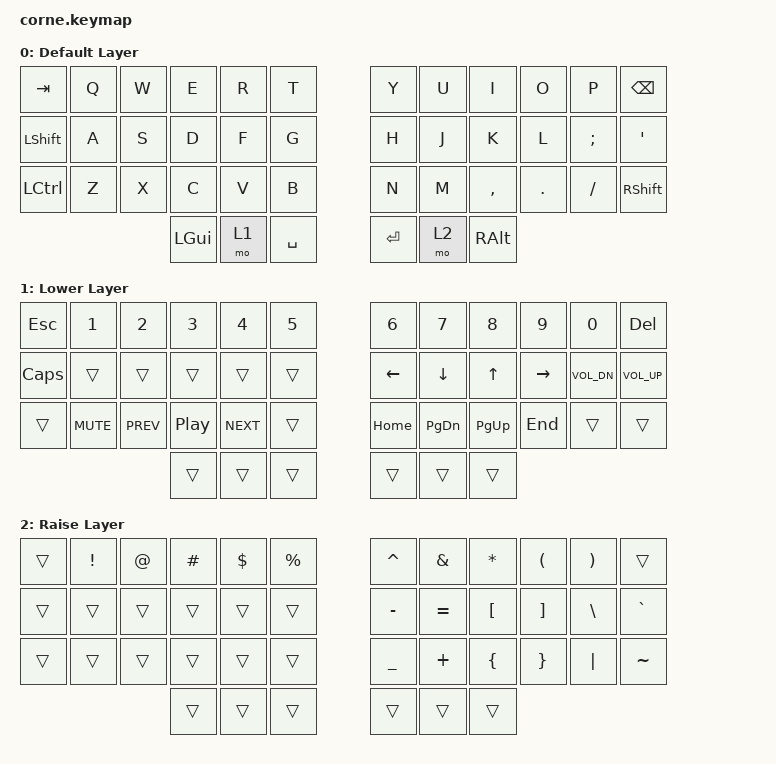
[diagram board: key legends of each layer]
/*
 * Copyright (c) 2020 The ZMK Contributors
 *
 * SPDX-License-Identifier: MIT
 */

#include <behaviors.dtsi>
#include <dt-bindings/zmk/keys.h>
#include <dt-bindings/zmk/bt.h>

/ {
        keymap {
                compatible = "zmk,keymap";

                default_layer {
                        display-name = "Default Layer";
// -----------------------------------------------------------------------------------------
// |  TAB |  Q  |  W  |  E  |  R  |  T  |   |  Y  |  U   |  I  |  O  |  P  | BSPC |
// | CTRL |  A  |  S  |  D  |  F  |  G  |   |  H  |  J   |  K  |  L  |  ;  |  '   |
// | SHFT |  Z  |  X  |  C  |  V  |  B  |   |  N  |  M   |  ,  |  .  |  /  | ESC  |
//                    | GUI | LWR | SPC |   | ENT | RSE  | ALT |
                        bindings = <
   &kp TAB   &kp Q &kp W &kp E &kp R &kp T   &kp Y &kp U  &kp I     &kp O   &kp P    &kp BSPC
   &kp LSHFT &kp A &kp S &kp D &kp F &kp G   &kp H &kp J  &kp K     &kp L   &kp SEMI &kp SQT
   &kp LCTRL &kp Z &kp X &kp C &kp V &kp B   &kp N &kp M  &kp COMMA &kp DOT &kp FSLH &kp RSHFT
                  &kp LGUI &mo 1 &kp SPACE   &kp RET &mo 2 &kp RALT
                        >;
                };
                lower_layer {
                        display-name = "Lower Layer";
// -----------------------------------------------------------------------------------------
// |  TAB |  1  |  2  |  3  |  4  |  5  |   |  6  |  7  |  8  |  9  |  0  | BSPC |
// | BTCLR| BT1 | BT2 | BT3 | BT4 | BT5 |   | LFT | DWN |  UP | RGT |VOLDN| VOLUP|
// | SHFT | MUTE| PREV| PLAY| NEXT|     |   | HOME| PGDN| PGUP| END |     |      |
//                    | GUI |     | SPC |   | ENT |     | ALT |
                        bindings = <
   &kp ESC   &kp N1       &kp N2       &kp N3       &kp N4       &kp N5         &kp N6   &kp N7   &kp N8 &kp N9    &kp N0 &kp DEL
   &kp CAPS &trans &trans &trans &trans &trans   &kp LEFT &kp DOWN &kp UP &kp RIGHT &kp C_VOL_DN &kp C_VOL_UP
   &trans &kp C_MUTE &kp C_PREV &kp C_PP &kp C_NEXT &trans      &kp HOME &kp PG_DN &kp PG_UP &kp END &trans &trans
                                    &trans     &trans       &trans      &trans  &trans   &trans
                        >;
                };

                raise_layer {
                        display-name = "Raise Layer";
// -----------------------------------------------------------------------------------------
// |  TAB |  !  |  @  |  #  |  $  |  %  |   |  ^  |  &  |  *  |  (  |  )  | BSPC |
// | CTRL |     |     |     |     |     |   |  -  |  =  |  [  |  ]  |  \  |  `   |
// | SHFT |     |     |     |     |     |   |  _  |  +  |  {  |  }  | "|" |  ~   |
//                    | GUI |     | SPC |   | ENT |     | ALT |
                        bindings = <
   &trans  &kp EXCL &kp AT &kp HASH &kp DLLR &kp PRCNT   &kp CARET &kp AMPS  &kp ASTRK &kp LPAR &kp RPAR &trans
   &trans &trans   &trans &trans   &trans   &trans      &kp MINUS &kp EQUAL &kp LBKT  &kp RBKT &kp BSLH &kp GRAVE
   &trans &trans   &trans &trans   &trans   &trans      &kp UNDER &kp PLUS  &kp LBRC  &kp RBRC &kp PIPE &kp TILDE
                             &trans &trans   &trans   &trans   &trans    &trans
                        >;
                };
        };
};
